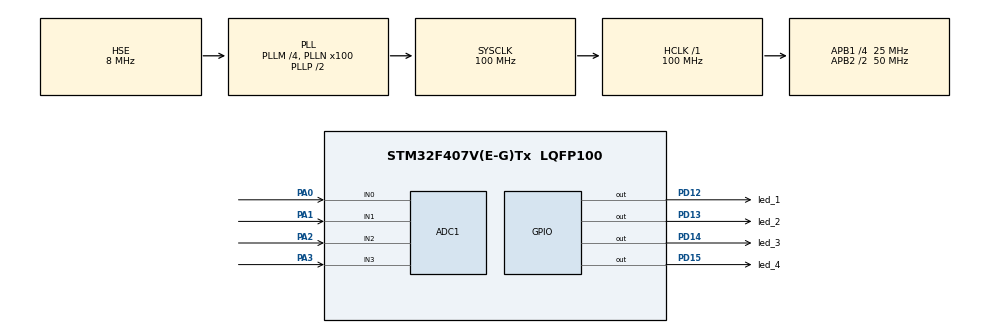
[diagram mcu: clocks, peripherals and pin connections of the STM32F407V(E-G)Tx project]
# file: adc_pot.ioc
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ADC1.Channel-0\#ChannelRegularConversion=ADC_CHANNEL_1
ADC1.InjNumberOfConversion=0
ADC1.NbrOfConversion=1
ADC1.NbrOfConversionFlag=1
ADC1.Rank-0\#ChannelRegularConversion=1
ADC1.SamplingTime-0\#ChannelRegularConversion=ADC_SAMPLETIME_480CYCLES
ADC1.master=1
Mcu.Family=STM32F4
Mcu.Name=STM32F407V(E-G)Tx
Mcu.Package=LQFP100
NVIC.PriorityGroup=NVIC_PRIORITYGROUP_4
PA0-WKUP.Signal=ADCx_IN0
PA1.Signal=ADCx_IN1
PA2.Signal=ADCx_IN2
PA3.Signal=ADCx_IN3
PD12.GPIO_Label=led_1
PD12.Signal=GPIO_Output
PD13.GPIO_Label=led_2
PD13.Signal=GPIO_Output
PD14.GPIO_Label=led_3
PD14.Signal=GPIO_Output
PD15.GPIO_Label=led_4
PD15.Signal=GPIO_Output
PH0-OSC_IN.Mode=HSE-External-Oscillator
PH0-OSC_IN.Signal=RCC_OSC_IN
PH1-OSC_OUT.Mode=HSE-External-Oscillator
PH1-OSC_OUT.Signal=RCC_OSC_OUT
ProjectManager.HeapSize=0x200
ProjectManager.StackSize=0x400
ProjectManager.TargetToolchain=STM32CubeIDE
RCC.48MHZClocksFreq_Value=50000000
RCC.AHBFreq_Value=100000000
RCC.APB1CLKDivider=RCC_HCLK_DIV4
RCC.APB1Freq_Value=25000000
RCC.APB1TimFreq_Value=50000000
RCC.APB2CLKDivider=RCC_HCLK_DIV2
RCC.APB2Freq_Value=50000000
RCC.APB2TimFreq_Value=100000000
RCC.CortexFreq_Value=100000000
RCC.HCLKFreq_Value=100000000
RCC.HSE_VALUE=8000000
RCC.HSI_VALUE=16000000
RCC.LSE_VALUE=32768
RCC.PLLM=4
RCC.PLLN=100
RCC.PLLSourceVirtual=RCC_PLLSOURCE_HSE
RCC.SYSCLKFreq_VALUE=100000000
RCC.SYSCLKSource=RCC_SYSCLKSOURCE_PLLCLK
RCC.VCOOutputFreq_Value=200000000
SH.ADCx_IN0.0=ADC1_IN0,IN0
SH.ADCx_IN1.0=ADC1_IN1,IN1
SH.ADCx_IN2.0=ADC1_IN2,IN2
SH.ADCx_IN3.0=ADC1_IN3,IN3
board=custom

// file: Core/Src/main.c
/* USER CODE BEGIN Header */
/**
  ******************************************************************************
  * @file           : main.c
  * @brief          : Main program body
  ******************************************************************************
  * @attention
  *
  * Copyright (c) 2025 STMicroelectronics.
  * All rights reserved.
  *
  * This software is licensed under terms that can be found in the LICENSE file
  * in the root directory of this software component.
  * If no LICENSE file comes with this software, it is provided AS-IS.
  *
  ******************************************************************************
  */
/* USER CODE END Header */
#include "main.h"

ADC_HandleTypeDef hadc1;

/* USER CODE BEGIN PV */

#define led_1 GPIO_PIN_12
#define led_2 GPIO_PIN_13
#define led_3 GPIO_PIN_14
#define led_4 GPIO_PIN_15

uint16_t Read_ADC_Channel(uint16_t channel);

/* USER CODE END PV */

void SystemClock_Config(void);
static void MX_GPIO_Init(void);
static void MX_ADC1_Init(void);

int main(void)
{

  /* MCU Configuration--------------------------------------------------------*/

  /* Reset of all peripherals, Initializes the Flash interface and the Systick. */
  HAL_Init();

  /* Configure the system clock */
  SystemClock_Config();

  /* Initialize all configured peripherals */
  MX_GPIO_Init();
  MX_ADC1_Init();

  uint16_t adc_val[4];
  uint16_t led_pins[4] = {led_1, led_2, led_3, led_4};
  uint16_t adc_channels[4] = { ADC_CHANNEL_0, ADC_CHANNEL_1, ADC_CHANNEL_2, ADC_CHANNEL_3 };

  /* Infinite loop */
  /* USER CODE BEGIN WHILE */

  while (1)
  {

	  HAL_ADC_Start(&hadc1);
	  HAL_ADC_PollForConversion(&hadc1, HAL_MAX_DELAY);
	  adc_val[4]=HAL_ADC_GetValue(&hadc1);

	  for (int i = 0; i < 4; i++)
	      {
	        adc_val[i] = adc_channels[i];

	        if (4 >=adc_val[i]  && adc_val[i]<=5 )
	        {
	          // GOOD: LED ON -green
	          HAL_GPIO_WritePin(GPIOD, led_pins[i], GPIO_PIN_SET);
	        }
	        else if (2 >=adc_val[i]  && adc_val[i]<= 3)
	        {
	          // RETEST: LED ON -yellow
	          HAL_GPIO_WritePin(GPIOD, led_pins[i], GPIO_PIN_SET);
	        }
	        else if (0 >=adc_val[i]  && adc_val[i]<= 2)
	        {
	          // BAD: LED ON -red
	        	HAL_GPIO_WritePin(GPIOD, led_pins[i], GPIO_PIN_SET);
	        }
	        	else if (0<=adc_val[i])
	        		HAL_GPIO_WritePin(GPIOD, led_pins[i], GPIO_PIN_SET);

	        }
	      }

	    }

    /* USER CODE END WHILE */

void SystemClock_Config(void)
{
  RCC_OscInitTypeDef RCC_OscInitStruct = {0};
  RCC_ClkInitTypeDef RCC_ClkInitStruct = {0};

  /** Configure the main internal regulator output voltage
  */
  __HAL_RCC_PWR_CLK_ENABLE();
  __HAL_PWR_VOLTAGESCALING_CONFIG(PWR_REGULATOR_VOLTAGE_SCALE1);

  /** Initializes the RCC Oscillators according to the specified parameters
  * in the RCC_OscInitTypeDef structure.
  */
  RCC_OscInitStruct.OscillatorType = RCC_OSCILLATORTYPE_HSE;
  RCC_OscInitStruct.HSEState = RCC_HSE_ON;
  RCC_OscInitStruct.PLL.PLLState = RCC_PLL_ON;
  RCC_OscInitStruct.PLL.PLLSource = RCC_PLLSOURCE_HSE;
  RCC_OscInitStruct.PLL.PLLM = 4;
  RCC_OscInitStruct.PLL.PLLN = 100;
  RCC_OscInitStruct.PLL.PLLP = RCC_PLLP_DIV2;
  RCC_OscInitStruct.PLL.PLLQ = 4;
  if (HAL_RCC_OscConfig(&RCC_OscInitStruct) != HAL_OK)
  {
    Error_Handler();
  }

  /** Initializes the CPU, AHB and APB buses clocks
  */
  RCC_ClkInitStruct.ClockType = RCC_CLOCKTYPE_HCLK|RCC_CLOCKTYPE_SYSCLK
                              |RCC_CLOCKTYPE_PCLK1|RCC_CLOCKTYPE_PCLK2;
  RCC_ClkInitStruct.SYSCLKSource = RCC_SYSCLKSOURCE_PLLCLK;
  RCC_ClkInitStruct.AHBCLKDivider = RCC_SYSCLK_DIV1;
  RCC_ClkInitStruct.APB1CLKDivider = RCC_HCLK_DIV4;
  RCC_ClkInitStruct.APB2CLKDivider = RCC_HCLK_DIV2;

  if (HAL_RCC_ClockConfig(&RCC_ClkInitStruct, FLASH_LATENCY_3) != HAL_OK)
  {
    Error_Handler();
  }
}

static void MX_ADC1_Init(void)
{

  ADC_ChannelConfTypeDef sConfig = {0};

  /** Configure the global features of the ADC (Clock, Resolution, Data Alignment and number of conversion)
  */
  hadc1.Instance = ADC1;
  hadc1.Init.ClockPrescaler = ADC_CLOCK_SYNC_PCLK_DIV2;
  hadc1.Init.Resolution = ADC_RESOLUTION_12B;
  hadc1.Init.ScanConvMode = DISABLE;
  hadc1.Init.ContinuousConvMode = DISABLE;
  hadc1.Init.DiscontinuousConvMode = DISABLE;
  hadc1.Init.ExternalTrigConvEdge = ADC_EXTERNALTRIGCONVEDGE_NONE;
  hadc1.Init.ExternalTrigConv = ADC_SOFTWARE_START;
  hadc1.Init.DataAlign = ADC_DATAALIGN_RIGHT;
  hadc1.Init.NbrOfConversion = 1;
  hadc1.Init.DMAContinuousRequests = DISABLE;
  hadc1.Init.EOCSelection = ADC_EOC_SINGLE_CONV;
  if (HAL_ADC_Init(&hadc1) != HAL_OK)
  {
    Error_Handler();
  }

  /** Configure for the selected ADC regular channel its corresponding rank in the sequencer and its sample time.
  */

  sConfig.Channel = ADC_CHANNEL_1;
  sConfig.Rank = 1;
  sConfig.SamplingTime = ADC_SAMPLETIME_480CYCLES;
  if (HAL_ADC_ConfigChannel(&hadc1, &sConfig) != HAL_OK)
  {
    Error_Handler();
  }

}

static void MX_GPIO_Init(void)
{
  GPIO_InitTypeDef GPIO_InitStruct = {0};

  /* GPIO Ports Clock Enable */
  __HAL_RCC_GPIOH_CLK_ENABLE();
  __HAL_RCC_GPIOA_CLK_ENABLE();
  __HAL_RCC_GPIOD_CLK_ENABLE();

  /*Configure GPIO pin Output Level */
  HAL_GPIO_WritePin(GPIOD, led_1_Pin|led_2_Pin|led_3_Pin|led_4_Pin, GPIO_PIN_RESET);

  /*Configure GPIO pins : led_1_Pin led_2_Pin led_3_Pin led_4_Pin */
  GPIO_InitStruct.Pin = led_1_Pin|led_2_Pin|led_3_Pin|led_4_Pin;
  GPIO_InitStruct.Mode = GPIO_MODE_OUTPUT_PP;
  GPIO_InitStruct.Pull = GPIO_NOPULL;
  GPIO_InitStruct.Speed = GPIO_SPEED_FREQ_LOW;
  HAL_GPIO_Init(GPIOD, &GPIO_InitStruct);

}

void Error_Handler(void)
{
  __disable_irq();
  while (1)
  {
  }
}
